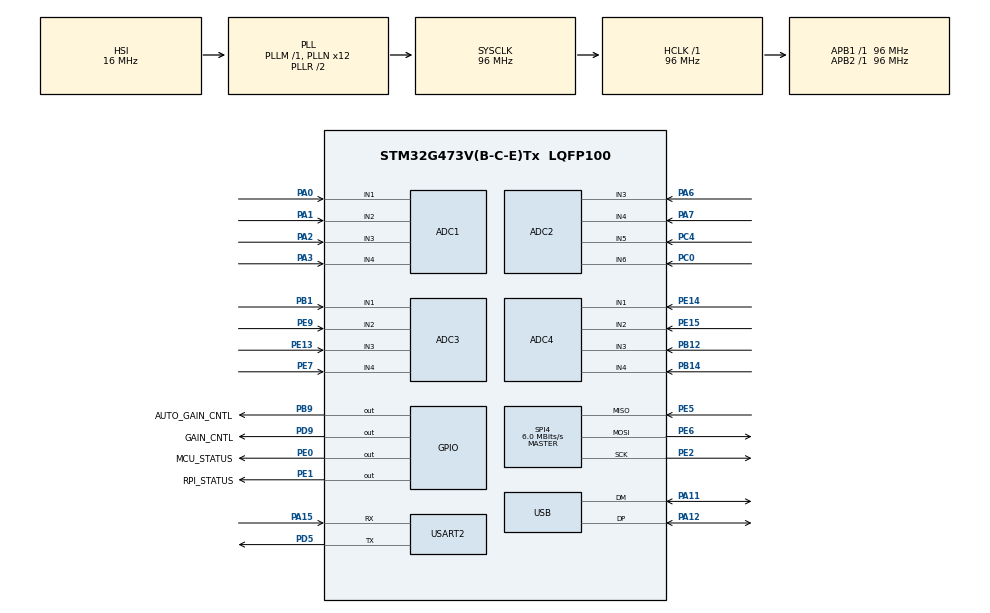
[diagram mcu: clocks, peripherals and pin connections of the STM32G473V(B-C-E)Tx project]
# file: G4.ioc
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ADC1.Channel-2\#ChannelRegularConversion=ADC_CHANNEL_1
ADC1.Channel-3\#ChannelRegularConversion=ADC_CHANNEL_2
ADC1.Channel-4\#ChannelRegularConversion=ADC_CHANNEL_3
ADC1.Channel-5\#ChannelRegularConversion=ADC_CHANNEL_4
ADC1.ContinuousConvMode=DISABLE
ADC1.DMAContinuousRequests=ENABLE
ADC1.ExternalTrigConv=ADC_EXTERNALTRIG_T6_TRGO
ADC1.NbrOfConversion=4
ADC1.NbrOfConversionFlag=1
ADC1.OffsetNumber-2\#ChannelRegularConversion=ADC_OFFSET_NONE
ADC1.OffsetNumber-3\#ChannelRegularConversion=ADC_OFFSET_NONE
ADC1.OffsetNumber-4\#ChannelRegularConversion=ADC_OFFSET_NONE
ADC1.OffsetNumber-5\#ChannelRegularConversion=ADC_OFFSET_NONE
ADC1.Overrun=ADC_OVR_DATA_OVERWRITTEN
ADC1.Rank-2\#ChannelRegularConversion=1
ADC1.Rank-3\#ChannelRegularConversion=2
ADC1.Rank-4\#ChannelRegularConversion=3
ADC1.Rank-5\#ChannelRegularConversion=4
ADC1.SamplingTime-2\#ChannelRegularConversion=ADC_SAMPLETIME_12CYCLES_5
ADC1.SamplingTime-3\#ChannelRegularConversion=ADC_SAMPLETIME_2CYCLES_5
ADC1.SamplingTime-4\#ChannelRegularConversion=ADC_SAMPLETIME_2CYCLES_5
ADC1.SamplingTime-5\#ChannelRegularConversion=ADC_SAMPLETIME_2CYCLES_5
ADC1.master=1
ADC2.Channel-0\#ChannelRegularConversion=ADC_CHANNEL_3
ADC2.Channel-1\#ChannelRegularConversion=ADC_CHANNEL_4
ADC2.Channel-2\#ChannelRegularConversion=ADC_CHANNEL_5
ADC2.Channel-3\#ChannelRegularConversion=ADC_CHANNEL_6
ADC2.ContinuousConvMode=ENABLE
ADC2.DMAContinuousRequests=ENABLE
ADC2.ExternalTrigConv=ADC_EXTERNALTRIG_T6_TRGO
ADC2.NbrOfConversion=4
ADC2.NbrOfConversionFlag=1
ADC2.OffsetNumber-0\#ChannelRegularConversion=ADC_OFFSET_NONE
ADC2.OffsetNumber-1\#ChannelRegularConversion=ADC_OFFSET_NONE
ADC2.OffsetNumber-2\#ChannelRegularConversion=ADC_OFFSET_NONE
ADC2.OffsetNumber-3\#ChannelRegularConversion=ADC_OFFSET_NONE
ADC2.Rank-0\#ChannelRegularConversion=1
ADC2.Rank-1\#ChannelRegularConversion=2
ADC2.Rank-2\#ChannelRegularConversion=3
ADC2.Rank-3\#ChannelRegularConversion=4
ADC2.SamplingTime-0\#ChannelRegularConversion=ADC_SAMPLETIME_2CYCLES_5
ADC2.SamplingTime-1\#ChannelRegularConversion=ADC_SAMPLETIME_2CYCLES_5
ADC2.SamplingTime-2\#ChannelRegularConversion=ADC_SAMPLETIME_2CYCLES_5
ADC2.SamplingTime-3\#ChannelRegularConversion=ADC_SAMPLETIME_2CYCLES_5
ADC3.Channel-0\#ChannelRegularConversion=ADC_CHANNEL_1
ADC3.Channel-1\#ChannelRegularConversion=ADC_CHANNEL_2
ADC3.Channel-2\#ChannelRegularConversion=ADC_CHANNEL_3
ADC3.Channel-3\#ChannelRegularConversion=ADC_CHANNEL_4
ADC3.ContinuousConvMode=ENABLE
ADC3.DMAContinuousRequests=ENABLE
ADC3.ExternalTrigConv=ADC_EXTERNALTRIG_T6_TRGO
ADC3.NbrOfConversion=4
ADC3.NbrOfConversionFlag=1
ADC3.OffsetNumber-0\#ChannelRegularConversion=ADC_OFFSET_NONE
ADC3.OffsetNumber-1\#ChannelRegularConversion=ADC_OFFSET_NONE
ADC3.OffsetNumber-2\#ChannelRegularConversion=ADC_OFFSET_NONE
ADC3.OffsetNumber-3\#ChannelRegularConversion=ADC_OFFSET_NONE
ADC3.Rank-0\#ChannelRegularConversion=1
ADC3.Rank-1\#ChannelRegularConversion=2
ADC3.Rank-2\#ChannelRegularConversion=3
ADC3.Rank-3\#ChannelRegularConversion=4
ADC3.SamplingTime-0\#ChannelRegularConversion=ADC_SAMPLETIME_2CYCLES_5
ADC3.SamplingTime-1\#ChannelRegularConversion=ADC_SAMPLETIME_2CYCLES_5
ADC3.SamplingTime-2\#ChannelRegularConversion=ADC_SAMPLETIME_2CYCLES_5
ADC3.SamplingTime-3\#ChannelRegularConversion=ADC_SAMPLETIME_2CYCLES_5
ADC3.master=1
ADC4.Channel-0\#ChannelRegularConversion=ADC_CHANNEL_1
ADC4.Channel-1\#ChannelRegularConversion=ADC_CHANNEL_2
ADC4.Channel-2\#ChannelRegularConversion=ADC_CHANNEL_3
ADC4.Channel-3\#ChannelRegularConversion=ADC_CHANNEL_4
ADC4.DMAContinuousRequests=ENABLE
ADC4.EnableAnalogWatchDog1=false
ADC4.ExternalTrigConv=ADC_EXTERNALTRIG_T6_TRGO
ADC4.NbrOfConversion=4
ADC4.NbrOfConversionFlag=1
ADC4.OffsetNumber-0\#ChannelRegularConversion=ADC_OFFSET_NONE
ADC4.OffsetNumber-1\#ChannelRegularConversion=ADC_OFFSET_NONE
ADC4.OffsetNumber-2\#ChannelRegularConversion=ADC_OFFSET_NONE
ADC4.OffsetNumber-3\#ChannelRegularConversion=ADC_OFFSET_NONE
ADC4.Rank-0\#ChannelRegularConversion=1
ADC4.Rank-1\#ChannelRegularConversion=2
ADC4.Rank-2\#ChannelRegularConversion=3
ADC4.Rank-3\#ChannelRegularConversion=4
ADC4.SamplingTime-0\#ChannelRegularConversion=ADC_SAMPLETIME_2CYCLES_5
ADC4.SamplingTime-1\#ChannelRegularConversion=ADC_SAMPLETIME_2CYCLES_5
ADC4.SamplingTime-2\#ChannelRegularConversion=ADC_SAMPLETIME_2CYCLES_5
ADC4.SamplingTime-3\#ChannelRegularConversion=ADC_SAMPLETIME_2CYCLES_5
Dma.ADC1.0.Direction=DMA_PERIPH_TO_MEMORY
Dma.ADC1.0.EventEnable=DISABLE
Dma.ADC1.0.Instance=DMA1_Channel1
Dma.ADC1.0.MemDataAlignment=DMA_MDATAALIGN_HALFWORD
Dma.ADC1.0.MemInc=DMA_MINC_ENABLE
Dma.ADC1.0.Mode=DMA_CIRCULAR
Dma.ADC1.0.PeriphDataAlignment=DMA_PDATAALIGN_HALFWORD
Dma.ADC1.0.PeriphInc=DMA_PINC_DISABLE
Dma.ADC1.0.Polarity=HAL_DMAMUX_REQ_GEN_RISING
Dma.ADC1.0.Priority=DMA_PRIORITY_HIGH
Dma.ADC1.0.RequestNumber=1
Dma.ADC1.0.SignalID=NONE
Dma.ADC1.0.SyncEnable=DISABLE
Dma.ADC1.0.SyncPolarity=HAL_DMAMUX_SYNC_NO_EVENT
Dma.ADC1.0.SyncRequestNumber=1
Dma.ADC1.0.SyncSignalID=NONE
Dma.ADC2.1.Direction=DMA_PERIPH_TO_MEMORY
Dma.ADC2.1.EventEnable=DISABLE
Dma.ADC2.1.Instance=DMA1_Channel2
Dma.ADC2.1.MemDataAlignment=DMA_MDATAALIGN_HALFWORD
Dma.ADC2.1.MemInc=DMA_MINC_ENABLE
Dma.ADC2.1.Mode=DMA_CIRCULAR
Dma.ADC2.1.PeriphDataAlignment=DMA_PDATAALIGN_HALFWORD
Dma.ADC2.1.PeriphInc=DMA_PINC_DISABLE
Dma.ADC2.1.Polarity=HAL_DMAMUX_REQ_GEN_RISING
Dma.ADC2.1.Priority=DMA_PRIORITY_LOW
Dma.ADC2.1.RequestNumber=1
Dma.ADC2.1.SignalID=NONE
Dma.ADC2.1.SyncEnable=DISABLE
Dma.ADC2.1.SyncPolarity=HAL_DMAMUX_SYNC_NO_EVENT
Dma.ADC2.1.SyncRequestNumber=1
Dma.ADC2.1.SyncSignalID=NONE
Dma.ADC3.2.Direction=DMA_PERIPH_TO_MEMORY
Dma.ADC3.2.EventEnable=DISABLE
Dma.ADC3.2.Instance=DMA1_Channel3
Dma.ADC3.2.MemDataAlignment=DMA_MDATAALIGN_HALFWORD
Dma.ADC3.2.MemInc=DMA_MINC_ENABLE
Dma.ADC3.2.Mode=DMA_CIRCULAR
Dma.ADC3.2.PeriphDataAlignment=DMA_PDATAALIGN_HALFWORD
Dma.ADC3.2.PeriphInc=DMA_PINC_DISABLE
Dma.ADC3.2.Polarity=HAL_DMAMUX_REQ_GEN_RISING
Dma.ADC3.2.Priority=DMA_PRIORITY_LOW
Dma.ADC3.2.RequestNumber=1
Dma.ADC3.2.SignalID=NONE
Dma.ADC3.2.SyncEnable=DISABLE
Dma.ADC3.2.SyncPolarity=HAL_DMAMUX_SYNC_NO_EVENT
Dma.ADC3.2.SyncRequestNumber=1
Dma.ADC3.2.SyncSignalID=NONE
Dma.ADC4.3.Direction=DMA_PERIPH_TO_MEMORY
Dma.ADC4.3.EventEnable=DISABLE
Dma.ADC4.3.Instance=DMA1_Channel4
Dma.ADC4.3.MemDataAlignment=DMA_MDATAALIGN_HALFWORD
Dma.ADC4.3.MemInc=DMA_MINC_ENABLE
Dma.ADC4.3.Mode=DMA_CIRCULAR
Dma.ADC4.3.PeriphDataAlignment=DMA_PDATAALIGN_HALFWORD
Dma.ADC4.3.PeriphInc=DMA_PINC_DISABLE
Dma.ADC4.3.Polarity=HAL_DMAMUX_REQ_GEN_RISING
Dma.ADC4.3.Priority=DMA_PRIORITY_LOW
Dma.ADC4.3.RequestNumber=1
Dma.ADC4.3.SignalID=NONE
Dma.ADC4.3.SyncEnable=DISABLE
Dma.ADC4.3.SyncPolarity=HAL_DMAMUX_SYNC_NO_EVENT
Dma.ADC4.3.SyncRequestNumber=1
Dma.ADC4.3.SyncSignalID=NONE
Dma.Request0=ADC1
Dma.Request1=ADC2
Dma.Request2=ADC3
Dma.Request3=ADC4
Mcu.Family=STM32G4
Mcu.Name=STM32G473V(B-C-E)Tx
Mcu.Package=LQFP100
NVIC.ADC1_2_IRQn=true\:0\:0\:false\:false\:true\:true\:true\:true
NVIC.DMA1_Channel1_IRQn=true\:0\:0\:false\:false\:true\:false\:true\:true
NVIC.DMA1_Channel2_IRQn=true\:0\:0\:false\:false\:true\:false\:true\:true
NVIC.DMA1_Channel3_IRQn=true\:0\:0\:false\:false\:true\:false\:true\:true
NVIC.DMA1_Channel4_IRQn=true\:0\:0\:false\:false\:true\:false\:true\:true
NVIC.PriorityGroup=NVIC_PRIORITYGROUP_4
NVIC.SPI4_IRQn=true\:0\:0\:false\:false\:true\:true\:true\:true
NVIC.TIM6_DAC_IRQn=true\:0\:0\:false\:false\:true\:true\:true\:true
NVIC.USB_LP_IRQn=true\:0\:0\:false\:false\:true\:false\:true\:true
PA0.Mode=IN1-Single-Ended
PA0.Signal=ADC1_IN1
PA1.Mode=IN2-Single-Ended
PA1.Signal=ADC1_IN2
PA11.Mode=Device
PA11.Signal=USB_DM
PA12.Mode=Device
PA12.Signal=USB_DP
PA13.Mode=Serial_Wire
PA13.Signal=SYS_JTMS-SWDIO
PA14.Mode=Serial_Wire
PA14.Signal=SYS_JTCK-SWCLK
PA15.Mode=Asynchronous
PA15.Signal=USART2_RX
PA2.Mode=IN3-Single-Ended
PA2.Signal=ADC1_IN3
PA3.Mode=IN4-Single-Ended
PA3.Signal=ADC1_IN4
PA6.Mode=IN3-Single-Ended
PA6.Signal=ADC2_IN3
PA7.Mode=IN4-Single-Ended
PA7.Signal=ADC2_IN4
PA8.GPIO_Label=BATT_SAMPLE
PA8.Signal=ADC5_IN1
PB1.Mode=IN1-Single-Ended
PB1.Signal=ADC3_IN1
PB12.Mode=IN3-Single-Ended
PB12.Signal=ADC4_IN3
PB14.Mode=IN4-Single-Ended
PB14.Signal=ADC4_IN4
PB9.GPIO_Label=AUTO_GAIN_CNTL
PB9.Signal=GPIO_Output
PC0.Mode=IN6-Single-Ended
PC0.Signal=ADC2_IN6
PC4.Mode=IN5-Single-Ended
PC4.Signal=ADC2_IN5
PD5.Mode=Asynchronous
PD5.Signal=USART2_TX
PD9.GPIO_Label=GAIN_CNTL
PD9.Signal=GPIO_Output
PE0.GPIO_Label=MCU_STATUS
PE0.Signal=GPIO_Output
PE1.GPIO_Label=RPI_STATUS
PE1.Signal=GPIO_Output
PE13.Mode=IN3-Single-Ended
PE13.Signal=ADC3_IN3
PE14.Mode=IN1-Single-Ended
PE14.Signal=ADC4_IN1
PE15.Mode=IN2-Single-Ended
PE15.Signal=ADC4_IN2
PE2.Mode=Full_Duplex_Master
PE2.Signal=SPI4_SCK
PE3.Signal=SPI4_NSS
PE5.Mode=Full_Duplex_Master
PE5.Signal=SPI4_MISO
PE6.Mode=Full_Duplex_Master
PE6.Signal=SPI4_MOSI
PE7.Mode=IN4-Single-Ended
PE7.Signal=ADC3_IN4
PE9.Mode=IN2-Single-Ended
PE9.Signal=ADC3_IN2
ProjectManager.HeapSize=0x200
ProjectManager.StackSize=0x400
ProjectManager.TargetToolchain=STM32CubeIDE
RCC.ADC12Freq_Value=96000000
RCC.ADC345Freq_Value=96000000
RCC.AHBFreq_Value=96000000
RCC.APB1Freq_Value=96000000
RCC.APB1TimFreq_Value=96000000
RCC.APB2Freq_Value=96000000
RCC.APB2TimFreq_Value=96000000
RCC.CortexFreq_Value=96000000
RCC.EXTERNAL_CLOCK_VALUE=12288000
RCC.HCLKFreq_Value=96000000
RCC.HSE_VALUE=8000000
RCC.HSI48_VALUE=48000000
RCC.HSI_VALUE=16000000
RCC.LSE_VALUE=32768
RCC.PLLN=12
RCC.PLLQ=RCC_PLLQ_DIV4
RCC.SYSCLKFreq_VALUE=96000000
RCC.SYSCLKSource=RCC_SYSCLKSOURCE_PLLCLK
RCC.USBFreq_Value=48000000
RCC.VCOOutputFreq_Value=192000000
SPI4.BaudRatePrescaler=SPI_BAUDRATEPRESCALER_16
SPI4.CalculateBaudRate=6.0 MBits/s
SPI4.DataSize=SPI_DATASIZE_16BIT
SPI4.Direction=SPI_DIRECTION_2LINES
SPI4.Mode=SPI_MODE_MASTER
SPI4.VirtualType=VM_MASTER
TIM6.PeriodNoDither=999
TIM6.Prescaler=4799
TIM6.TIM_MasterOutputTrigger=TIM_TRGO_UPDATE
USART2.VirtualMode-Asynchronous=VM_ASYNC
USB_DEVICE.CLASS_NAME_FS=CDC
USB_DEVICE.USBD_MAX_STR_DESC_SIZ=1024
USB_DEVICE.VirtualMode=Cdc
USB_DEVICE.VirtualModeFS=Cdc_FS
VP_ADC1_Vref_Input.Mode=IN-Vrefint
VP_SYS_VS_DBSignals.Mode=DisableDeadBatterySignals
VP_SYS_V_VREFBUF.Mode=ExternalMode
VP_TIM6_VS_ClockSourceINT.Mode=Enable_Timer
VP_USB_DEVICE_VS_USB_DEVICE_CDC_FS.Mode=CDC_FS
board=custom

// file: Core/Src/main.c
/* USER CODE BEGIN Header */
/**
  ******************************************************************************
  * @file           : main.c
  * @brief          : Main program body
  ******************************************************************************
  * @attention
  *
  * Copyright (c) 2026 STMicroelectronics.
  * All rights reserved.
  *
  * This software is licensed under terms that can be found in the LICENSE file
  * in the root directory of this software component.
  * If no LICENSE file comes with this software, it is provided AS-IS.
  *
  ******************************************************************************
  */
/* USER CODE END Header */
#include "main.h"
#include "adc.h"
#include "dma.h"
#include "spi.h"
#include "tim.h"
#include "usart.h"
#include "usb_device.h"
#include "gpio.h"
#include "arm_math.h"

/* USER CODE BEGIN PD */
#define N_SAMPLES 2048
#define SPI_PACKET_HEADER 0xAA
#define SPI_PACKET_SIZE (1 + 1 + 4 + 512*4 + 2)

/* USER CODE END PD */

/* USER CODE BEGIN PV */
// Each ADC gets dedicated DMA circular buffer (2048 samples total)
// Half-buffer = 1024 samples (at 48kHz = 21.3ms)
static uint16_t adc1_buf[2048];
static uint16_t adc2_buf[2048];
static uint16_t adc3_buf[2048];
static uint16_t adc4_buf[2048];

// FFT Output: Frequency domain results (1024-point FFT → 512 bins per ADC)
static float fft_out_adc1[512];
static float fft_out_adc2[512];
static float fft_out_adc3[512];
static float fft_out_adc4[512];

// Ping-pong processing flags
// Bit assignment: [4-7]=Full flags (ADC1-4), [0-3]=Half flags (ADC1-4)
volatile uint32_t adc_ready_mask = 0;
volatile uint8_t fft_in_progress = 0;  // Prevent overlapping FFT calculations

// Track which half of buffer is ready for FFT
// ready_half: 0=first half (0-1023), 1=second half (1024-2047)
volatile uint8_t ready_half[4] = {0};  // One per ADC

// Interrupt counters (for debug / watch)
volatile uint32_t irq_events = 0;            // total ADC IRQ events
volatile uint32_t irq_count_adc[4] = {0};    // per-ADC IRQ counters

/* USER CODE END PV */

void SystemClock_Config(void);

/* USER CODE BEGIN 0 */
uint32_t value = 0;
float voltage;
const float adc_scalar = 3.3f / 4095.0f;

float abi_probe(float a, float b) {
    return a + b;
}

static float fft_input_buf[1024];
static float fft_temp_buf[2048];
static arm_rfft_fast_instance_f32 fft_instance;

static uint32_t spi_frame_counter = 0;
static uint8_t spi_tx_buffer[SPI_PACKET_SIZE];

typedef struct {
    uint8_t header;
    uint8_t adc_id;
    uint32_t frame_counter;
    float fft_data[512];
    uint16_t checksum;
} __attribute__((packed)) SPI_Packet_t;

void process_adc_to_float(uint16_t *adc_raw, float *output, uint32_t length)
{
    for (uint32_t i = 0; i < length; i++) {
        output[i] = (float)adc_raw[i] * adc_scalar;
    }
}

float calculate_dc_offset(float *data, uint32_t length)
{
    float sum = 0.0f;
    for (uint32_t i = 0; i < length; i++) {
        sum += data[i];
    }
    return sum / (float)length;
}

void remove_dc_bias(float *data, uint32_t length, float dc_offset)
{
    for (uint32_t i = 0; i < length; i++) {
        data[i] -= dc_offset;
    }
}

void apply_fft(float *input, float *magnitude_output, uint32_t fft_size)
{
    arm_rfft_fast_f32(&fft_instance, input, fft_temp_buf, 0);

    uint32_t bin_count = fft_size / 2;
    for (uint32_t k = 0; k < bin_count; k++) {
        float real = fft_temp_buf[2*k];
        float imag = fft_temp_buf[2*k + 1];
        magnitude_output[k] = sqrtf(real*real + imag*imag);
    }
}

void normalize_magnitude(float *mag, uint32_t length)
{
    float max = 0.0f;
    for (uint32_t i = 0; i < length; i++) {
        if (mag[i] > max) max = mag[i];
    }

    if (max > 0.0f) {
        for (uint32_t i = 0; i < length; i++) {
            mag[i] /= max;
        }
    }
}

void process_adc_pipeline(uint16_t *adc_raw, uint32_t adc_id, float *fft_output)
{
    process_adc_to_float(adc_raw, fft_input_buf, 1024);
    float dc_offset = calculate_dc_offset(fft_input_buf, 1024);
    remove_dc_bias(fft_input_buf, 1024, dc_offset);
    apply_fft(fft_input_buf, fft_output, 1024);
    normalize_magnitude(fft_output, 512);
}

uint16_t calculate_checksum(uint8_t *data, uint32_t length)
{
    uint16_t sum = 0;
    for (uint32_t i = 0; i < length; i++) {
        sum += data[i];
    }
    return sum;
}

void package_adc_for_spi(uint8_t adc_id, float *fft_output, uint8_t *packet_buffer)
{
    SPI_Packet_t *pkt = (SPI_Packet_t *)packet_buffer;

    pkt->header = SPI_PACKET_HEADER;
    pkt->adc_id = adc_id;
    pkt->frame_counter = spi_frame_counter++;

    for (uint32_t i = 0; i < 512; i++) {
        pkt->fft_data[i] = fft_output[i];
    }

    uint32_t checksum_len = SPI_PACKET_SIZE - sizeof(uint16_t);
    pkt->checksum = calculate_checksum(packet_buffer, checksum_len);
}

void transmit_spi_packet(uint8_t *packet_buffer, uint32_t packet_size)
{
    HAL_SPI_Transmit(&hspi4, packet_buffer, packet_size, HAL_MAX_DELAY);
}

/* USER CODE END 0 */

int main(void)
{

  /* MCU Configuration--------------------------------------------------------*/

  /* Reset of all peripherals, Initializes the Flash interface and the Systick. */
  HAL_Init();

  /* Configure the system clock */
  SystemClock_Config();

  /* Initialize all configured peripherals */
  MX_GPIO_Init();
  MX_DMA_Init();
  MX_ADC1_Init();
  MX_ADC2_Init();
  MX_ADC3_Init();
  MX_ADC4_Init();
  MX_SPI4_Init();
  MX_TIM6_Init();
  MX_USART2_UART_Init();
  MX_USB_Device_Init();
  /* USER CODE BEGIN 2 */

  // Calibrate all ADCs before use
  HAL_ADCEx_Calibration_Start(&hadc1, ADC_SINGLE_ENDED);
  HAL_ADCEx_Calibration_Start(&hadc2, ADC_SINGLE_ENDED);
  HAL_ADCEx_Calibration_Start(&hadc3, ADC_SINGLE_ENDED);
  HAL_ADCEx_Calibration_Start(&hadc4, ADC_SINGLE_ENDED);

  arm_rfft_fast_init_f32(&fft_instance, 1024);

  // Start Timer6 (triggers all ADCs synchronously)
  HAL_TIM_Base_Start(&htim6);

  // Start all 4 ADCs with DMA (2048 samples = 1024×2 ping-pong)
  HAL_ADC_Start_DMA(&hadc1, (uint32_t*)adc1_buf, 2048);
  HAL_ADC_Start_DMA(&hadc2, (uint32_t*)adc2_buf, 2048);
  HAL_ADC_Start_DMA(&hadc3, (uint32_t*)adc3_buf, 2048);
  HAL_ADC_Start_DMA(&hadc4, (uint32_t*)adc4_buf, 2048);

  /* USER CODE END 2 */

  /* Infinite loop */
  while (1)
  {

    /* USER CODE BEGIN 3 */

    // FFT Processing Pipeline
    // When any ADC half-buffer completes, process that acoustic window
    if (adc_ready_mask && !fft_in_progress) {
      fft_in_progress = 1;

      // Check each ADC for ready half-buffers
      for (int adc = 0; adc < 4; adc++) {
        uint8_t half_flag = (adc_ready_mask >> adc) & 1;       // Half-complete
        uint8_t full_flag = (adc_ready_mask >> (adc + 4)) & 1; // Full-complete

        if (half_flag || full_flag) {
          uint16_t *buf_ptr = NULL;
          float *fft_out_ptr = NULL;
          uint32_t half_offset = 0;

          if (half_flag) {
            half_offset = 0;
            ready_half[adc] = 0;
          } else {
            half_offset = 1024;
            ready_half[adc] = 1;
          }

          if (adc == 0) {
            buf_ptr = adc1_buf;
            fft_out_ptr = fft_out_adc1;
          } else if (adc == 1) {
            buf_ptr = adc2_buf;
            fft_out_ptr = fft_out_adc2;
          } else if (adc == 2) {
            buf_ptr = adc3_buf;
            fft_out_ptr = fft_out_adc3;
          } else if (adc == 3) {
            buf_ptr = adc4_buf;
            fft_out_ptr = fft_out_adc4;
          }

          if (buf_ptr && fft_out_ptr) {
            process_adc_pipeline(&buf_ptr[half_offset], adc, fft_out_ptr);
            package_adc_for_spi(adc, fft_out_ptr, spi_tx_buffer);
            transmit_spi_packet(spi_tx_buffer, SPI_PACKET_SIZE);
          }
        }
      }

      // Clear ready flags after processing
      adc_ready_mask = 0;
      fft_in_progress = 0;
    }

    /* Periodic debug print of IRQ counters over UART (every ~1000 iterations) */
    static uint32_t _print_counter = 0;
    if (++_print_counter >= 1000) {
      _print_counter = 0;
      char _buf[128];
      int _len = snprintf(_buf, sizeof(_buf), "IRQ total:%lu A1:%lu A2:%lu A3:%lu A4:%lu mask:0x%08lX\r\n",
                          (unsigned long)irq_events,
                          (unsigned long)irq_count_adc[0],
                          (unsigned long)irq_count_adc[1],
                          (unsigned long)irq_count_adc[2],
                          (unsigned long)irq_count_adc[3],
                          (unsigned long)adc_ready_mask);
      if (_len > 0) {
        extern UART_HandleTypeDef huart2; /* declared in usart.c / usart.h */
        HAL_UART_Transmit(&huart2, (uint8_t*)_buf, (uint16_t)_len, HAL_MAX_DELAY);
      }
    }

    HAL_Delay(1);

  }
  /* USER CODE END 3 */
}

void SystemClock_Config(void)
{
  RCC_OscInitTypeDef RCC_OscInitStruct = {0};
  RCC_ClkInitTypeDef RCC_ClkInitStruct = {0};

  /** Configure the main internal regulator output voltage
  */
  HAL_PWREx_ControlVoltageScaling(PWR_REGULATOR_VOLTAGE_SCALE1);

  /** Initializes the RCC Oscillators according to the specified parameters
  * in the RCC_OscInitTypeDef structure.
  */
  RCC_OscInitStruct.OscillatorType = RCC_OSCILLATORTYPE_HSI;
  RCC_OscInitStruct.HSIState = RCC_HSI_ON;
  RCC_OscInitStruct.HSICalibrationValue = RCC_HSICALIBRATION_DEFAULT;
  RCC_OscInitStruct.PLL.PLLState = RCC_PLL_ON;
  RCC_OscInitStruct.PLL.PLLSource = RCC_PLLSOURCE_HSI;
  RCC_OscInitStruct.PLL.PLLM = RCC_PLLM_DIV1;
  RCC_OscInitStruct.PLL.PLLN = 12;
  RCC_OscInitStruct.PLL.PLLP = RCC_PLLP_DIV2;
  RCC_OscInitStruct.PLL.PLLQ = RCC_PLLQ_DIV4;
  RCC_OscInitStruct.PLL.PLLR = RCC_PLLR_DIV2;
  if (HAL_RCC_OscConfig(&RCC_OscInitStruct) != HAL_OK)
  {
    Error_Handler();
  }

  /** Initializes the CPU, AHB and APB buses clocks
  */
  RCC_ClkInitStruct.ClockType = RCC_CLOCKTYPE_HCLK|RCC_CLOCKTYPE_SYSCLK
                              |RCC_CLOCKTYPE_PCLK1|RCC_CLOCKTYPE_PCLK2;
  RCC_ClkInitStruct.SYSCLKSource = RCC_SYSCLKSOURCE_PLLCLK;
  RCC_ClkInitStruct.AHBCLKDivider = RCC_SYSCLK_DIV1;
  RCC_ClkInitStruct.APB1CLKDivider = RCC_HCLK_DIV1;
  RCC_ClkInitStruct.APB2CLKDivider = RCC_HCLK_DIV1;

  if (HAL_RCC_ClockConfig(&RCC_ClkInitStruct, FLASH_LATENCY_3) != HAL_OK)
  {
    Error_Handler();
  }
}

void Error_Handler(void)
{
  __disable_irq();
  while (1)
  {
  }
}
